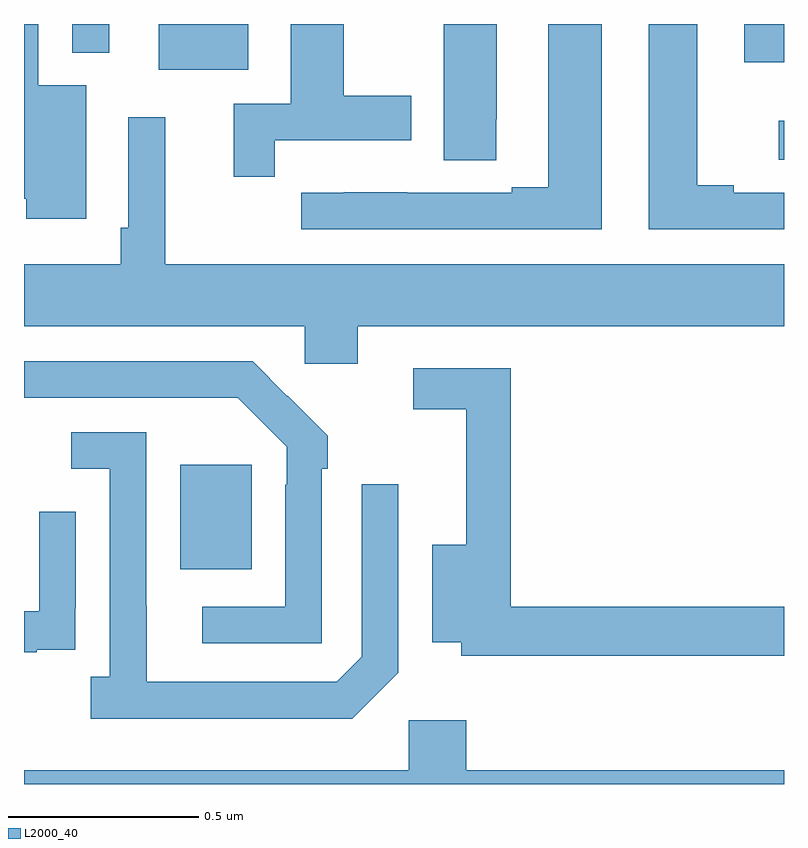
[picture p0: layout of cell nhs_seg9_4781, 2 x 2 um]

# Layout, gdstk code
import gdstk
lib = gdstk.Library(unit=1e-6, precision=1e-09)
def R(c, l, rs):  # rectangles x0, y0, x1, y1
    for r in rs: c.add(gdstk.rectangle(r[:2], r[2:], *l))
def P(c, l, *ps):  # polygons
    for p in ps: c.add(gdstk.Polygon(p, *l))
L2000_40 = (2000, 40)

nhs_seg9_4781 = lib.new_cell('nhs_seg9_4781')
R(nhs_seg9_4781, L2000_40, [(170.411,1245.065,170.599,1245.34), (171.986,1246.143,172,1246.245), (170.354,1246.379,170.59,1246.5), (171.896,1246.4,172,1246.5), (170.127,1246.424,170.224,1246.5)])
P(nhs_seg9_4781, L2000_40, [(170.66,1246.194),(171.019,1246.194),(171.019,1246.311),(170.842,1246.311),(170.842,1246.5),(170.702,1246.5),(170.702,1246.29),(170.552,1246.29),(170.552,1246.098),(170.66,1246.098)],
  [(172,1246.056),(171.868,1246.056),(171.868,1246.076),(171.772,1246.076),(171.772,1246.5),(171.644,1246.5),(171.644,1245.96),(172,1245.96)],
  [(171.243,1246.249),(171.244,1246.249),(171.244,1246.5),(171.104,1246.5),(171.104,1246.141),(171.243,1246.141)],
  [(170.164,1246.339),(170.037,1246.339),(170.037,1246.5),(170,1246.5),(170,1246.04),(170.006,1246.04),(170.006,1245.987),(170.164,1245.987)],
  [(171.52,1246.5),(171.38,1246.5),(171.38,1246.071),(171.284,1246.071),(171.284,1246.056),(171.008,1246.056),(171.008,1246.057),(170.842,1246.057),(170.842,1246.056),(170.73,1246.056),(170.73,1245.96),(171.52,1245.96)],
  [(170.878,1245.704),(172,1245.704),(172,1245.868),(170.372,1245.868),(170.372,1246.255),(170.274,1246.255),(170.274,1245.964),(170.254,1245.964),(170.254,1245.868),(170,1245.868),(170,1245.704),(170.739,1245.704),(170.739,1245.606),(170.878,1245.606)],
  [(170.784,1245.329),(170.799,1245.329),(170.799,1245.417),(170.694,1245.522),(170.693,1245.521),(170.602,1245.612),(170,1245.612),(170,1245.516),(170.563,1245.516),(170.691,1245.387),(170.691,1245.287),(170.688,1245.287),(170.688,1244.967),(170.469,1244.967),(170.469,1244.871),(170.784,1244.871)],
  [(172,1244.966),(171.281,1244.966),(171.281,1245.594),(171.024,1245.594),(171.024,1245.486),(171.164,1245.486),(171.164,1245.13),(171.074,1245.13),(171.074,1244.873),(171.15,1244.873),(171.15,1244.838),(172,1244.838)],
  [(170.985,1244.793),(170.985,1245.289),(170.889,1245.289),(170.889,1244.835),(170.823,1244.769),(170.323,1244.769),(170.323,1244.969),(170.322,1244.969),(170.322,1245.426),(170.124,1245.426),(170.124,1245.33),(170.226,1245.33),(170.226,1244.782),(170.175,1244.782),(170.175,1244.672),(170.864,1244.672)],
  [(170.033,1244.853),(170.135,1244.853),(170.135,1244.962),(170.136,1244.962),(170.136,1245.217),(170.04,1245.217),(170.04,1244.955),(170,1244.955),(170,1244.847),(170.033,1244.847)],
  [(171.012,1244.668),(171.012,1244.536),(170,1244.536),(170,1244.5),(172,1244.5),(172,1244.536),(171.164,1244.536),(171.164,1244.668)])

lib.write_gds('nhs_seg9_4781.gds')
